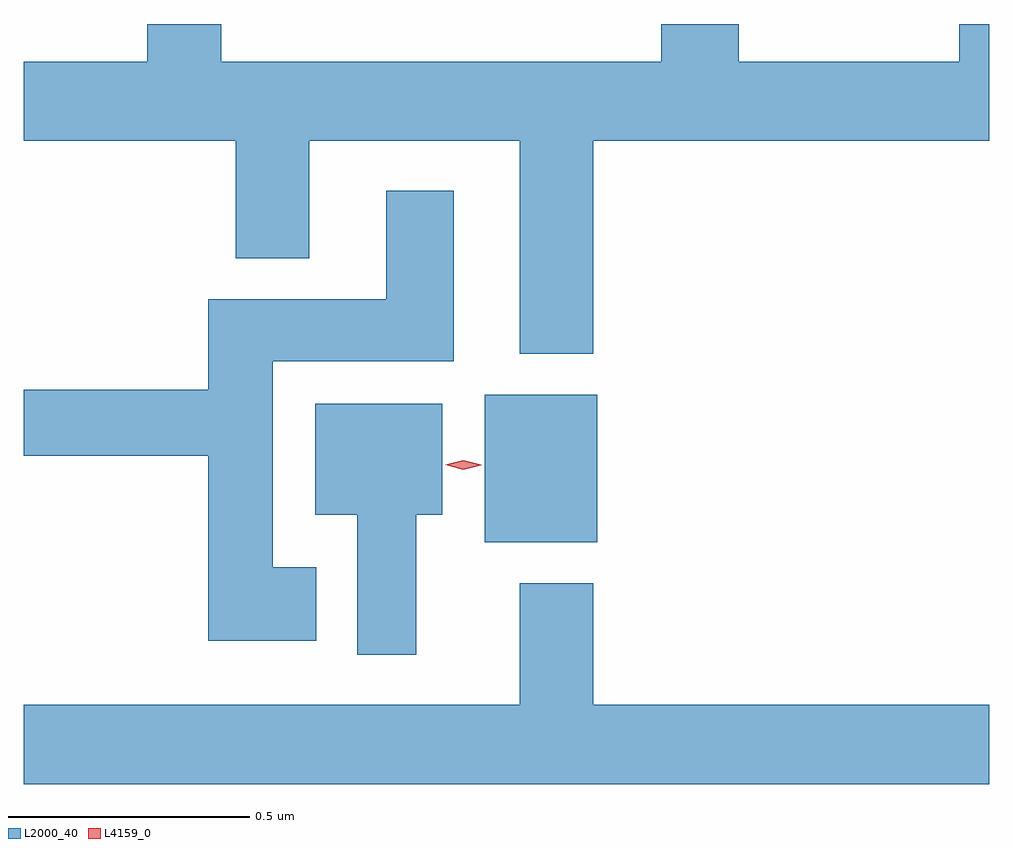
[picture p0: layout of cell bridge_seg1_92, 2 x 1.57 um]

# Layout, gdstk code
import gdstk
lib = gdstk.Library(unit=1e-6, precision=1e-09)
def R(c, l, rs):  # rectangles x0, y0, x1, y1
    for r in rs: c.add(gdstk.rectangle(r[:2], r[2:], *l))
def P(c, l, *ps):  # polygons
    for p in ps: c.add(gdstk.Polygon(p, *l))
L2000_40 = (2000, 40)
L4159_0 = (4159, 0)

bridge_seg1_92 = lib.new_cell('bridge_seg1_92')
R(bridge_seg1_92, L2000_40, [(281.141,574.877,281.374,575.182)])
P(bridge_seg1_92, L2000_40, [(280.595,575.95),(280.442,575.95),(280.442,575.872),(280.186,575.872),(280.186,575.708),(280.625,575.708),(280.625,575.465),(280.777,575.465),(280.777,575.708),(281.213,575.708),(281.213,575.267),(281.366,575.267),(281.366,575.708),(282.186,575.708),(282.186,575.95),(282.124,575.95),(282.124,575.872),(281.667,575.872),(281.667,575.95),(281.507,575.95),(281.507,575.872),(280.595,575.872)],
  [(280.792,574.825),(280.702,574.825),(280.702,575.252),(281.077,575.252),(281.077,575.605),(280.937,575.605),(280.937,575.38),(280.568,575.38),(280.568,575.192),(280.186,575.192),(280.186,575.056),(280.568,575.056),(280.568,574.673),(280.792,574.673)],
  [(280.999,574.934),(281.053,574.934),(281.053,575.164),(280.79,575.164),(280.79,574.934),(280.877,574.934),(280.877,574.644),(280.999,574.644)],
  [(282.186,574.54),(281.366,574.54),(281.366,574.792),(281.213,574.792),(281.213,574.54),(280.186,574.54),(280.186,574.376),(282.186,574.376)])
P(bridge_seg1_92, L4159_0, [(281.096,575.027),(281.059,575.037),(281.059,575.037),(281.059,575.037),(281.096,575.047),(281.134,575.037),(281.134,575.037),(281.134,575.036)])

lib.write_gds('bridge_seg1_92.gds')
